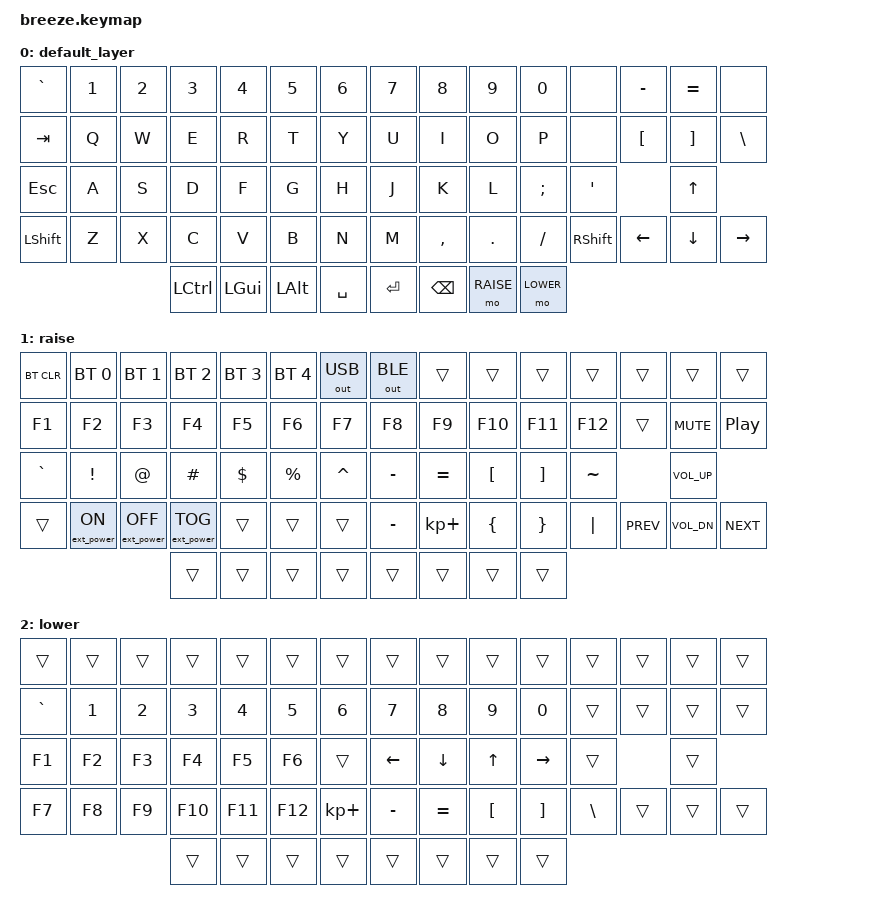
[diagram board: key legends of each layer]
/*
 * Copyright (c) 2020 The ZMK Contributors
 *
 * SPDX-License-Identifier: MIT
 */

#include <behaviors.dtsi>
#include <dt-bindings/zmk/keys.h>
#include <dt-bindings/zmk/bt.h>
#include <dt-bindings/zmk/rgb.h>
#include <dt-bindings/zmk/ext_power.h>
#include <dt-bindings/zmk/outputs.h>

#define DEFAULT 0
#define RAISE  1
#define LOWER  2
#define ADJUST 3

/ {
  conditional_layers {
    compatible = "zmk,conditional-layers";
    tri_layer {
      if-layers = <1 2>;
      then-layer = <3>;
    };
  };
};

/ {
  keymap {
    compatible = "zmk,keymap";

    default_layer {
      // Ref: https://zmkfirmware.dev/docs/codes/
      // ----------------------------------------------------------------------------------------------------------------------------------------
      // |   ~   |   1   |   2   |   3   |   4   |   5   |               |   6   |   7   |   8   |   9   |   0   | NONE || MINUS | EQUAL | NONE  |
      // |  TAB  |   Q   |   W   |   E   |   R   |   T   |               |   Y   |   U   |   I   |   O   |   P   | NONE ||   [   |   ]   | BSLH  |
      // |  ESC  |   A   |   S   |   D   |   F   |   G   |               |   H   |   J   |   K   |   L   |   ;   |   '  ||       |  UP   |       |
      // | SHIFT |   Z   |   X   |   C   |   V   |   B   |               |   N   |   M   |   ,   |   .   |   /   | RSHFT|| LEFT  | DOWN  | RIGHT |
      // |                       | CTRL  |  CMD  |  ALT  | SPACE | ENTER | BSPC  | RAISE | LOWER |                                               |
      // ---------------------------------------------------------------------------------------------------------------------------------- 

      bindings = <
        &kp GRAVE &kp N1 &kp N2 &kp N3    &kp N4   &kp N5                     &kp N6   &kp N7   &kp N8    &kp N9  &kp N0   &none      &kp MINUS &kp EQUAL &none
        &kp TAB   &kp Q  &kp W  &kp E     &kp R    &kp T                      &kp Y    &kp U    &kp I     &kp O   &kp P    &none      &kp LBKT  &kp RBKT  &kp BSLH
        &kp ESC   &kp A  &kp S  &kp D     &kp F    &kp G                      &kp H    &kp J    &kp K     &kp L   &kp SEMI &kp APOS             &kp UP 
        &kp LSHFT &kp Z  &kp X  &kp C     &kp V    &kp B                      &kp N    &kp M    &kp COMMA &kp DOT &kp FSLH &kp RSHFT  &kp LEFT  &kp DOWN  &kp RIGHT
                                &kp LCTRL &kp LGUI &kp LALT &kp SPACE &kp RET &kp BSPC &mo RAISE &mo LOWER
        >;
    };

    raise {
      // ----------------------------------------------------------------------------------------------------------------------------------------
      // |   ~   |   1   |   2   |   3   |   4   |   5   |               |   6   |   7   |   8   |   9   |   0   |   x  ||   x   |   x   |   x   |
      // |   x   |   x   |   x   |   x   |   x   |   x   |               |   x   |   x   |   x   |   x   |   x   |   x  ||   x   |   x   |   x   |
      // |   x   |   x   |   x   |   x   |   x   |   x   |               |   x   |   -   |   =   |   [   |   ]   |   x  ||   x   |   x   |   x   |
      // |   x   |   x   |   x   |   x   |   x   |   x   |               |   x   |   x   |   x   |   x   |   x   |   x  ||   x   |   x   |   x   |
      // |   x       x       x   |   x   |   x   |   x   |   x   |   x   |   x   |   x   |   x   |   x   |   x   |   x  ||   x   |   x   |   x   |
      // ----------------------------------------------------------------------------------------------------------------------------------------
      // | BTCLR | BT1 | BT2 |  BT3 |  BT4 |  BT5 |                   |  USB  |  BLE  |       |      |       |       | |      |      |      | 
      // |  F1   |  F2 |  F3 |  F4  |  F5  |  F6  |                   |  F7   |  F8   |  F9   |  F10 |  F11  |  F12  | |      | Mute | Play | 
      // |   `   |  !  |  @  |  #   |  $   |  %   |                   |  j    |  &    |  *    |  (   |   )   |   ~   | |      | Vol+ |      | 
      // |       |     |     |      |      |      |                   |       |  _    |  +    |  {   |   }   |  "|"  | | Prev | Vol- | Next | 
      //                     |      |      |      |        |  |       |       |       |       |
      bindings = <
        &bt BT_CLR &bt BT_SEL 0     &bt BT_SEL 1      &bt BT_SEL 2      &bt BT_SEL 3 &bt BT_SEL 4                 &out OUT_USB &out OUT_BLE &trans  &trans    &trans    &trans    &trans     &trans        &trans    
        &kp F1     &kp F2           &kp F3            &kp F4            &kp F5       &kp F6                       &kp F7    &kp F8    &kp F9        &kp F10   &kp F11   &kp F12   &trans     &kp C_MUTE    &kp C_PLAY_PAUSE 
        &kp GRAVE  &kp EXCL         &kp AT            &kp HASH          &kp DOLLAR   &kp PRCNT                    &kp CARET &kp MINUS &kp EQUAL     &kp LBKT  &kp RBKT  &kp TILDE            &kp C_VOL_UP 
        &trans     &ext_power EP_ON &ext_power EP_OFF &ext_power EP_TOG &trans       &trans                       &trans    &kp MINUS &kp KP_PLUS   &kp LBRC  &kp RBRC  &kp PIPE  &kp C_PREV &kp C_VOL_DN  &kp C_NEXT
        &trans            &trans       &trans    &trans   &trans    &trans    &trans    &trans
        >;
    };

    lower {
      // ----------------------------------------------------------------------------------------------------------------------------------------
      // |   ~   |   1   |   2   |   3   |   4   |   5   |               |   6   |   7   |   8   |   9   |   0   |   x  ||   x   |   x   |   x   |
      // |   x   |   x   |   x   |   x   |   x   |   x   |               |   x   |   x   |   x   |   x   |   x   |   x  ||   x   |   x   |   x   |
      // |   x   |   x   |   x   |   x   |   x   |   x   |               |   x   |   x   |   x   |   x   |   x   |   x  ||   x   |   x   |   x   |
      // |   x   |   x   |   x   |   x   |   x   |   x   |               |   x   |   x   |   x   |   x   |   x   |   x  ||   x   |   x   |   x   |
      // |   x       x       x   |   x   |   x   |   x   |   x   |   x   |   x   |   x   |   x   |   x   |   x   |   x  ||   x   |   x   |   x   |
      // ----------------------------------------------------------------------------------------------------------------------------------------
      // ---------------------------------------------------------------------------------------------------------------------------------- 
      // |       |     |     |      |      |      |                   |      |       |       |      |       |       | |     |      |      | 
      // |   `   |  1  |  2  |  3   |  4   |  5   |                   |  6   |   7   |   8   |  9   |   0   |       | |     |      |      | 
      // |   F1  |  F2 |  F3 |  F4  |  F5  |  F6  |                   |      |   <-  |   ^   |  v   |  ->   |       | |     |      |      | 
      // |   F7  |  F8 |  F9 |  F10 |  F11 |  F12 |                   |  +   |   -   |   =   |  [   |   ]   |   \   | |     |      |      | 
      //                     |      |      |      |        |  |       |      |       |       |
      bindings = <
        &trans    &trans &trans &trans  &trans  &trans                       &trans      &trans    &trans    &trans   &trans    &trans    &trans    &trans    &trans 
        &kp GRAVE &kp N1 &kp N2 &kp N3  &kp N4  &kp N5                       &kp N6      &kp N7    &kp N8    &kp N9   &kp N0    &trans    &trans    &trans    &trans 
        &kp F1    &kp F2 &kp F3 &kp F4  &kp F5  &kp F6                       &trans      &kp LEFT  &kp DOWN  &kp UP   &kp RIGHT &trans              &trans           
        &kp F7    &kp F8 &kp F9 &kp F10 &kp F11 &kp F12                      &kp KP_PLUS &kp MINUS &kp EQUAL &kp LBKT &kp RBKT  &kp BSLH  &trans    &trans    &trans 
        &trans  &trans  &trans    &trans   &trans    &trans      &trans    &trans
        >;
    };

//    adjust {
      // ----------------------------------------------------------------------------------------------------------------------------------------
      // |       |       |       |       |       |       |               |       |       |       |       |       |      ||       |       |       |
      // |       |       |       |       |       |       |               |       |       |       |       |       |      ||       |       |       |
      // |       |       |       |       |       |       |               |       |       |       |       |       |      ||       |       |       |
      // |       |       |       |       |       |       |               |       |       |       |       |       |      ||       |       |       |
      // |                       |       |       |       |       |       |       |       |       |       |       |      ||       |       |       |
//      bindings = <
//      &trans    &trans &trans &trans  &trans  &trans                       &trans      &trans    &trans    &trans   &trans    &trans    &trans    &trans    &trans 
//      &kp GRAVE &kp N1 &kp N2 &kp N3  &kp N4  &kp N5                       &kp N6      &kp N7    &kp N8    &kp N9   &kp N0    &trans    &trans    &trans    &trans 
//      &kp F1    &kp F2 &kp F3 &kp F4  &kp F5  &kp F6                       &trans      &kp LEFT  &kp DOWN  &kp UP   &kp RIGHT &trans              &trans           
//      &kp F7    &kp F8 &kp F9 &kp F10 &kp F11 &kp F12                      &kp KP_PLUS &kp MINUS &kp EQUAL &kp LBKT &kp RBKT  &kp BSLH  &trans    &trans    &trans 
//                              &trans  &trans  &trans    &trans   &trans    &trans      &trans    &trans
//      >;
//  };
  };
};
